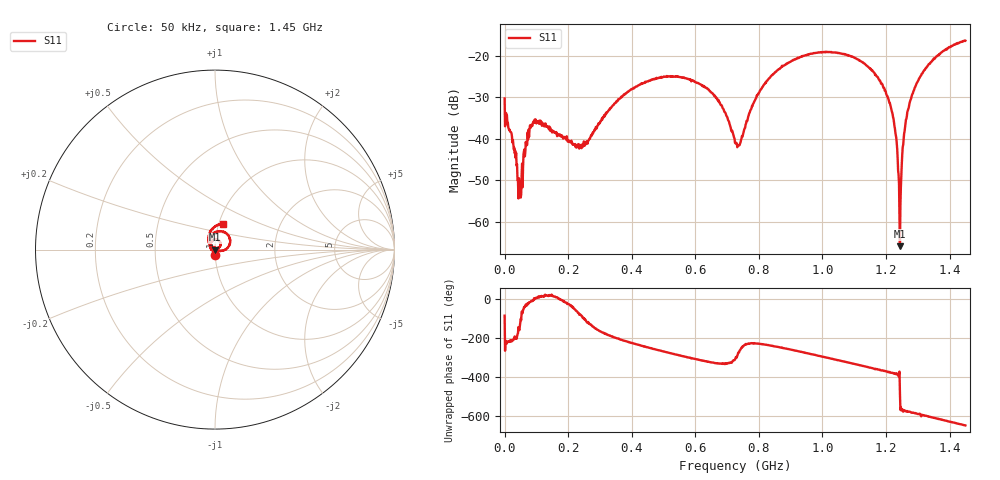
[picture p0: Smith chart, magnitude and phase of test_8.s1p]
! Created with skrf 1.11.0 (http://scikit-rf.org).
# Hz S RI R 50.0
!freq ReS11 ImS11
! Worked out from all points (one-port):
!   1001 points, 50 kHz to 1.45 GHz, reference 50 ohm
!   lowest |S11| = -65.8 dB at 1.244 GHz (marker M1), VSWR 1.00, Z = 50 - j0.0406 ohm
!   |S11| at or under -10 dB: start of sweep to end of sweep
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50000  0.00179 -0.0305
2.9049e7  -0.00685 0.0029
4.93483e7  -0.00118 -0.00211
6.67477e7  0.00804 -0.00443
8.7047e7  0.0139 -0.00307
1.812938e8  0.0105 -0.0015
2.494414e8  -0.00205 -0.00907
3.625375e8  -0.027 0.0141
5.437812e8  0.0163 0.0535
6.597772e8  0.0278 0.0173
7.25025e8  0.00578 0.00679
7.395245e8  -0.000667 0.00835
7.772232e8  -0.0161 0.0173
8.178218e8  -0.0266 0.0369
9.062688e8  -0.0119 0.0865
1.087512e9  0.084 0.0521
1.15711e9  0.0662 0.00574
1.202059e9  0.0329 -0.00674
1.226708e9  0.0131 -0.00591
1.233957e9  0.00807 -0.0035
1.238307e9  0.00373 -0.00178
1.244107e9  -0.00031 -0.000406
1.249907e9  -0.00449 0.00222
1.258607e9  -0.0106 0.00628
1.268756e9  -0.0172 0.0136
1.293405e9  -0.0304 0.0306
1.328204e9  -0.0372 0.0626
1.45e9  0.0471 0.1438
